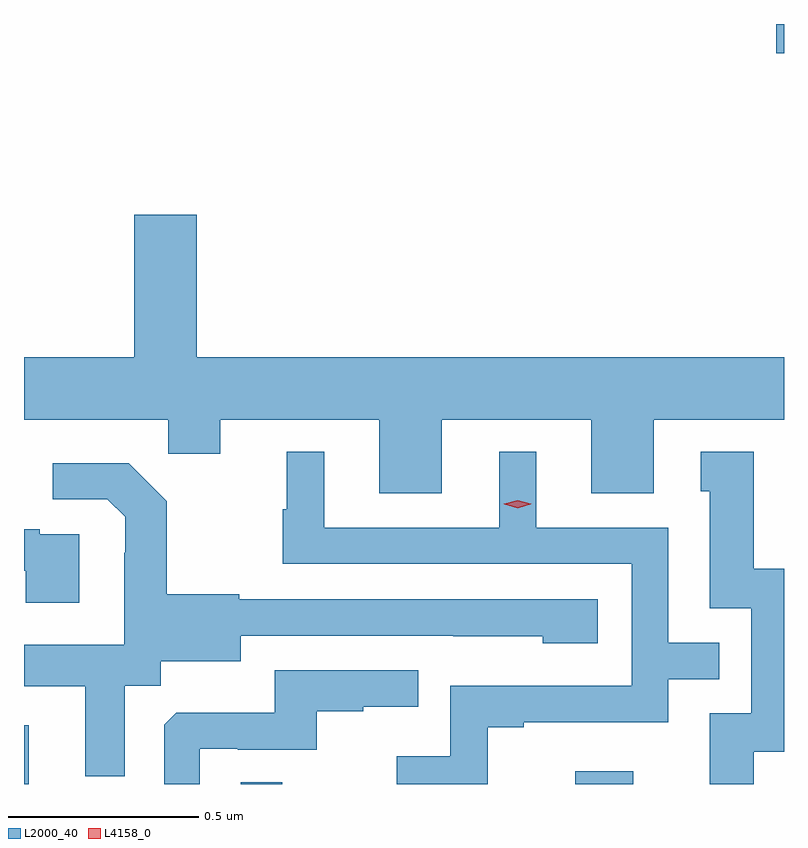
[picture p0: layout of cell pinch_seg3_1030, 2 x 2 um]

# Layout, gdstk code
import gdstk
lib = gdstk.Library(unit=1e-6, precision=1e-09)
def R(c, l, rs):  # rectangles x0, y0, x1, y1
    for r in rs: c.add(gdstk.rectangle(r[:2], r[2:], *l))
def P(c, l, *ps):  # polygons
    for p in ps: c.add(gdstk.Polygon(p, *l))
L2000_40 = (2000, 40)
L4158_0 = (4158, 0)

pinch_seg3_1030 = lib.new_cell('pinch_seg3_1030')
R(pinch_seg3_1030, L2000_40, [(380.502,675.981,380.515,676.135), (381.072,675.981,381.181,675.986), (381.953,675.981,382.105,676.015), (382.481,677.904,382.502,677.981)])
P(pinch_seg3_1030, L2000_40, [(381.601,676.94),(381.995,676.94),(381.995,676.746),(382.159,676.746),(382.159,676.94),(382.502,676.94),(382.502,677.104),(380.956,677.104),(380.956,677.479),(380.792,677.479),(380.792,677.104),(380.502,677.104),(380.502,676.94),(380.881,676.94),(380.881,676.85),(381.019,676.85),(381.019,676.94),(381.437,676.94),(381.437,676.746),(381.601,676.746)],
  [(382.423,676.066),(382.502,676.066),(382.502,676.547),(382.423,676.547),(382.423,676.855),(382.283,676.855),(382.283,676.752),(382.307,676.752),(382.307,676.443),(382.416,676.443),(382.416,676.167),(382.307,676.167),(382.307,675.981),(382.423,675.981)],
  [(381.723,676.131),(381.817,676.131),(381.817,676.143),(382.197,676.143),(382.197,676.257),(382.331,676.257),(382.331,676.353),(382.197,676.353),(382.197,676.656),(381.85,676.656),(381.85,676.855),(381.752,676.855),(381.752,676.656),(381.292,676.656),(381.292,676.855),(381.194,676.855),(381.194,676.704),(381.183,676.704),(381.183,676.56),(382.101,676.56),(382.101,676.239),(381.624,676.239),(381.624,676.054),(381.483,676.054),(381.483,675.981),(381.723,675.981)],
  [(380.767,676.24),(380.862,676.24),(380.862,676.304),(381.073,676.304),(381.073,676.371),(381.631,676.371),(381.631,676.37),(381.867,676.37),(381.867,676.352),(382.012,676.352),(382.012,676.467),(381.069,676.467),(381.069,676.48),(380.877,676.48),(380.877,676.725),(380.777,676.825),(380.577,676.825),(380.577,676.731),(380.721,676.731),(380.768,676.684),(380.768,676.589),(380.766,676.589),(380.766,676.348),(380.502,676.348),(380.502,676.238),(380.663,676.238),(380.663,676.002),(380.767,676.002)],
  [(380.647,676.638),(380.543,676.638),(380.543,676.651),(380.502,676.651),(380.502,676.542),(380.507,676.542),(380.507,676.458),(380.647,676.458)],
  [(380.964,676.074),(381.064,676.074),(381.064,676.071),(381.272,676.071),(381.272,676.173),(381.395,676.173),(381.395,676.184),(381.539,676.184),(381.539,676.281),(381.162,676.281),(381.162,676.169),(380.903,676.169),(380.871,676.137),(380.871,675.981),(380.964,675.981)])
P(pinch_seg3_1030, L4158_0, [(381.801,676.707),(381.766,676.717),(381.765,676.718),(381.766,676.718),(381.801,676.728),(381.836,676.718),(381.837,676.718),(381.836,676.717)])

lib.write_gds('pinch_seg3_1030.gds')
